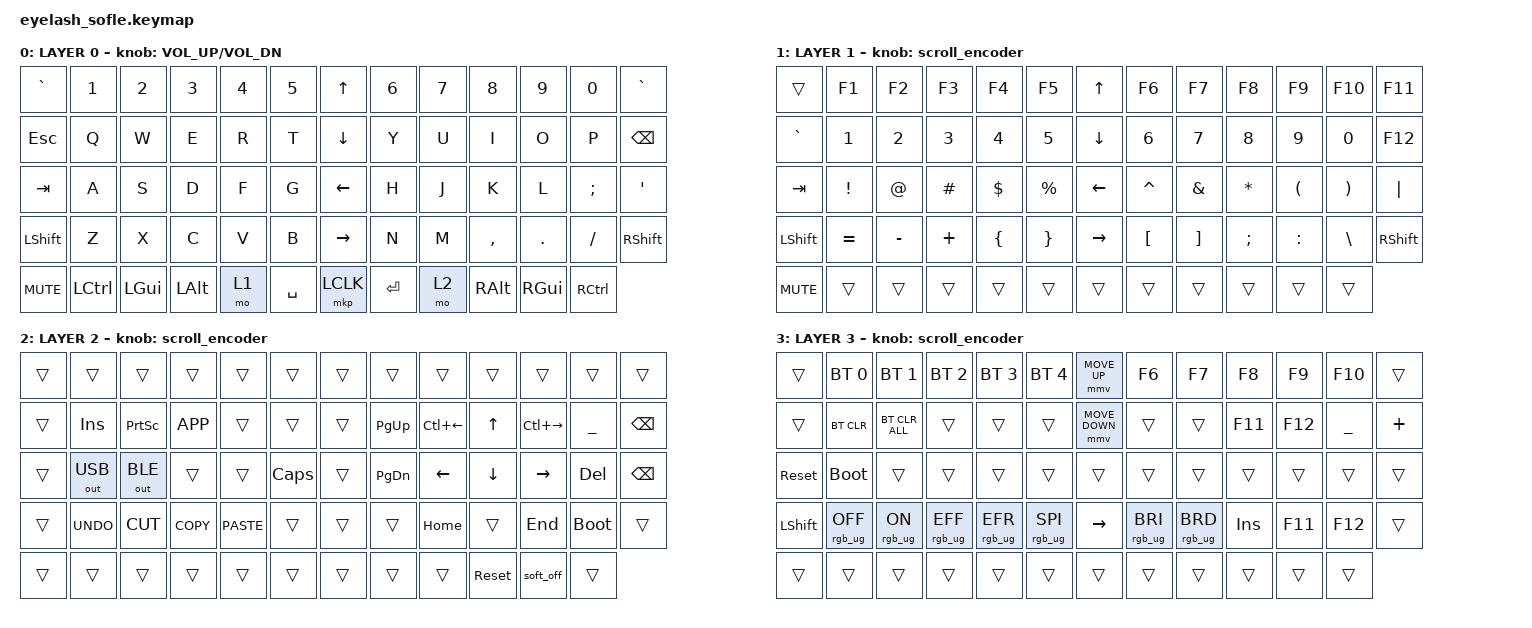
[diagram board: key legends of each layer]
#define ZMK_POINTING_DEFAULT_MOVE_VAL 1200  // 600
#define ZMK_POINTING_DEFAULT_SCRL_VAL 25   // 10

#include <input/processors.dtsi>
#include <zephyr/dt-bindings/input/input-event-codes.h>
#include <behaviors.dtsi>
#include <dt-bindings/zmk/bt.h>
#include <dt-bindings/zmk/ext_power.h>
#include <dt-bindings/zmk/keys.h>
#include <dt-bindings/zmk/pointing.h>
#include <dt-bindings/zmk/rgb.h>
#include <dt-bindings/zmk/outputs.h>

&mmv_input_listener { input-processors = <&zip_xy_scaler 2 1>; };

&msc_input_listener { input-processors = <&zip_scroll_scaler 2 1>; };

&msc {
    acceleration-exponent = <1>;      // 0
    time-to-max-speed-ms = <100>;       // 300
    delay-ms = <0>;                   // 0
};

&mmv {
    time-to-max-speed-ms = <500>;
    acceleration-exponent = <1>;
    trigger-period-ms = <16>;
};

/ {
    conditional_layers {
        compatible = "zmk,conditional-layers";
        tri_layer {
            if-layers = <1 2>;
            then-layer = <3>;
        };
    };
};

/ {

    scroll_encoder: scroll_encoder {
        compatible = "zmk,behavior-sensor-rotate";
        #sensor-binding-cells = <0>;
        bindings = <&msc SCRL_DOWN>, <&msc SCRL_UP>;
        tap-ms = <100>;
    };

    keymap {
        compatible = "zmk,keymap";

        default_layer {
            bindings = <
&kp GRAVE   &kp N1     &kp N2         &kp N3        &kp N4  &kp N5     &kp UP_ARROW     &kp N6     &kp N7  &kp N8         &kp N9         &kp N0     &kp GRAVE
&kp ESC     &kp Q      &kp W          &kp E         &kp R   &kp T      &kp DOWN_ARROW   &kp Y      &kp U   &kp I          &kp O          &kp P      &kp BACKSPACE
&kp TAB     &kp A      &kp S          &kp D         &kp F   &kp G      &kp LEFT_ARROW   &kp H      &kp J   &kp K          &kp L          &kp SEMI   &kp APOS
&kp LSHFT   &kp Z      &kp X          &kp C         &kp V   &kp B      &kp RIGHT_ARROW  &kp N      &kp M   &kp COMMA      &kp DOT        &kp FSLH   &kp RIGHT_SHIFT
&kp C_MUTE  &kp LCTRL  &kp LEFT_GUI   &kp LEFT_ALT  &mo 1   &kp SPACE  &mkp LCLK        &kp ENTER  &mo 2   &kp RIGHT_ALT  &kp RIGHT_GUI  &kp RCTRL
            >;

            sensor-bindings = <&inc_dec_kp C_VOLUME_UP C_VOL_DN>;
            display-name = "LAYER 0";
        };

        lower_layer {
            bindings = <
&trans      &kp F1     &kp F2     &kp F3    &kp F4          &kp F5           &kp UP_ARROW     &kp F6     &kp F7    &kp F8     &kp F9     &kp F10   &kp F11
&kp GRAVE   &kp N1     &kp N2     &kp N3    &kp N4          &kp N5           &kp DOWN_ARROW   &kp N6     &kp N7    &kp N8     &kp N9     &kp N0    &kp F12
&kp TAB     &kp EXCL   &kp AT     &kp HASH  &kp DOLLAR      &kp PERCENT      &kp LEFT_ARROW   &kp CARET  &kp AMPS  &kp ASTRK  &kp LPAR   &kp RPAR  &kp PIPE
&kp LSHFT   &kp EQUAL  &kp MINUS  &kp PLUS  &kp LEFT_BRACE  &kp RIGHT_BRACE  &kp RIGHT_ARROW  &kp LBKT   &kp RBKT  &kp SEMI   &kp COLON  &kp BSLH  &kp RSHIFT
&kp C_MUTE  &trans     &trans     &trans    &trans          &trans           &trans           &trans     &trans    &trans     &trans     &trans
            >;

            sensor-bindings = <&scroll_encoder>;
            display-name = "LAYER 1";
        };

        raise_layer {
            bindings = <
&trans  &trans        &trans        &trans        &trans       &trans    &trans  &trans     &trans              &trans          &trans               &trans       &trans
&trans  &kp INSERT    &kp PSCRN     &kp K_APP     &trans       &trans    &trans  &kp PG_UP  &kp LC(LEFT_ARROW)  &kp UP_ARROW    &kp LC(RIGHT_ARROW)  &kp UNDER    &kp BACKSPACE
&trans  &out OUT_USB  &out OUT_BLE  &trans        &trans       &kp CAPS  &trans  &kp PG_DN  &kp LEFT_ARROW      &kp DOWN_ARROW  &kp RIGHT_ARROW      &kp DEL      &kp BACKSPACE
&trans  &kp K_UNDO    &kp K_CUT     &kp K_COPY    &kp K_PASTE  &trans    &trans  &trans     &kp HOME            &trans          &kp END              &bootloader  &trans
&trans  &trans        &trans        &trans        &trans       &trans    &trans  &trans     &trans              &sys_reset      &soft_off            &trans
            >;

            sensor-bindings = <&scroll_encoder>;
            display-name = "LAYER 2";
        };

        adjust_layer {
            bindings = <
&trans      &bt BT_SEL 0     &bt BT_SEL 1    &bt BT_SEL 2     &bt BT_SEL 3     &bt BT_SEL 4    &mmv MOVE_UP     &kp F6           &kp F7           &kp F8      &kp F9     &kp F10   &trans
&trans      &bt BT_CLR       &bt BT_CLR_ALL  &trans           &trans           &trans          &mmv MOVE_DOWN   &trans           &trans           &kp F11     &kp F12    &kp UNDER &kp PLUS
&sys_reset  &bootloader      &trans          &trans           &trans           &trans          &trans           &trans           &trans           &trans      &trans     &trans    &trans
&kp LSHFT   &rgb_ug RGB_OFF  &rgb_ug RGB_ON  &rgb_ug RGB_EFF  &rgb_ug RGB_EFR  &rgb_ug RGB_SPI &kp RIGHT_ARROW  &rgb_ug RGB_BRI  &rgb_ug RGB_BRD  &kp INSERT  &kp F11    &kp F12   &trans
&trans      &trans           &trans          &trans           &trans           &trans          &trans           &trans           &trans           &trans      &trans     &trans
            >;

            sensor-bindings = <&scroll_encoder>;
            display-name = "LAYER 3";
        };
    };
};
